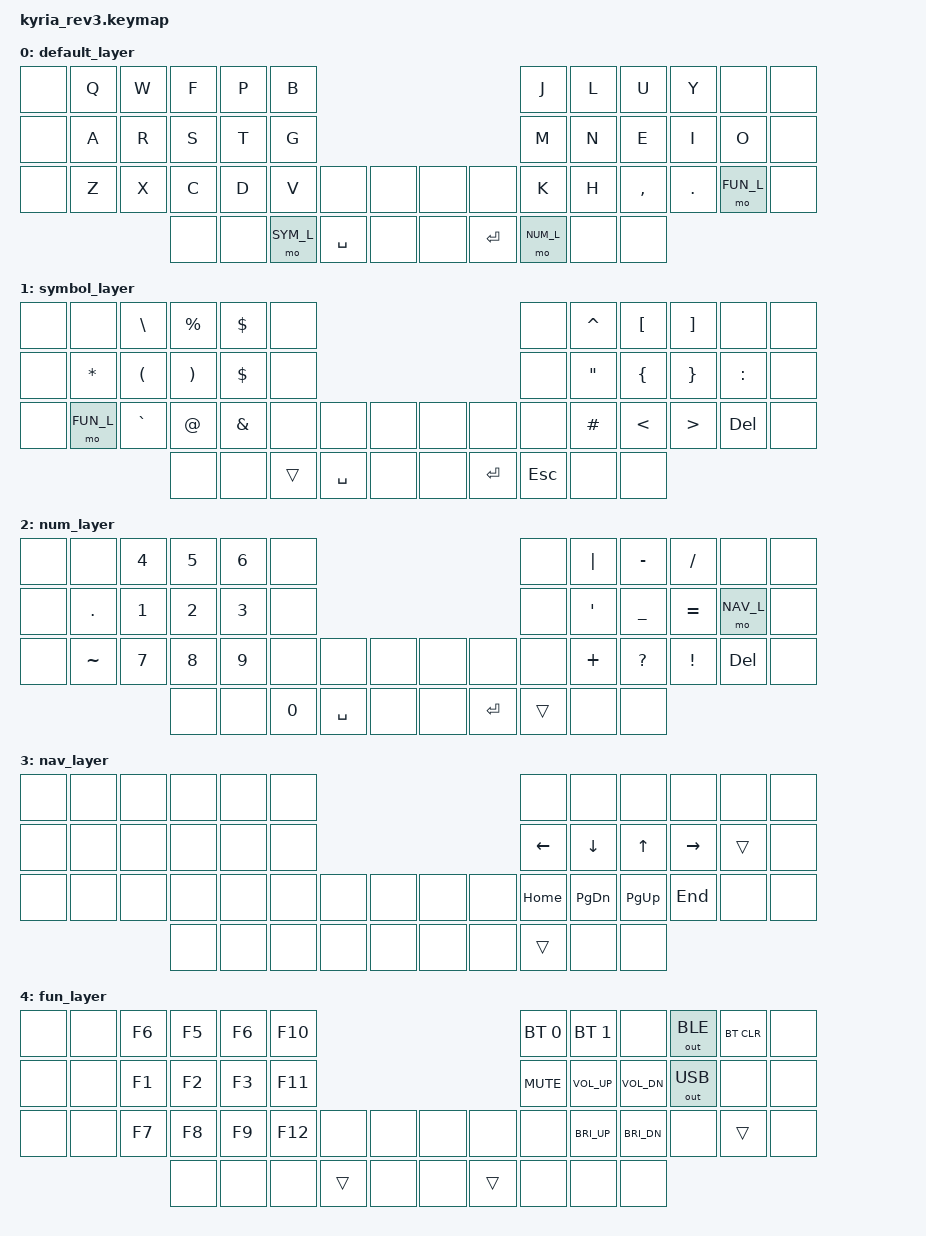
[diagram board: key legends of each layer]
/*
 * Copyright (c) 2023 Johan Söderbäck
 *
 */

#include <behaviors.dtsi>
#include <dt-bindings/zmk/bt.h>
#include <dt-bindings/zmk/keys.h>
#include <dt-bindings/zmk/outputs.h>
#include <dt-bindings/zmk/ext_power.h>
//#include <dt-bindings/zmk/rgb.h>

#define CMK_L 0
#define SYM_L 1
#define NUM_L 2
#define NAV_L 3
#define FUN_L 4


/* Uncomment this block if using RGB
&led_strip {
    chain-length = <6>;
    // chain-length = <31>; // Uncomment if using both per-key and underglow LEDs§
    // chain-length = <25>; // Uncomment if using only per-key LEDs.
};
 */



&caps_word {
   continue-list = <UNDERSCORE MINUS BACKSPACE>;
};


/*
	     34 Keys (kyria 50 keys)
    ╭──────────────╮           ╭──────────────╮
  0 │ 1  2  3  4  5│           │ 6  7  8 9  10│ 11
 12 │13 14 15 16 17│           │18 19 20 21 22│ 23
 24 │25 26 27 28 29│30 31 32 33│34 35 36 37 38│ 39
    ╰──────────╮   ╰─╮       ╭─╯   ╭──────────╯
          40 41│42 43│ 44 45 │46 47│48 49
	       ╰─────╯       ╰─────╯
*/

/ {

    behaviors {
        skq: sticky_key_quick_release {
            compatible = "zmk,behavior-sticky-key";
            label = "STICKY_KEY_QUICK_RELEASE";
            #binding-cells = <1>;
            bindings = <&kp>;
            release-after-ms = <1000>;
            quick-release;
        };
    };


    combos {
        compatible = "zmk,combos";
        combo_wf_shift {
            layers = <0 1 2 3 4 5>;
            timeout-ms = <50>;
            // W + F
            key-positions = <2 3>;
            bindings = <&skq LSHFT>;
        };
        combo_gm_capsword {
            layers = <0 1 2 3 4 5>;
            timeout-ms = <100>;
            // G + M
            key-positions = <17 18>;
            bindings = <&caps_word>;
        };
        combo_xc_ctrl {
            layers = <0 1 2 3 4 5>;
            timeout-ms = <50>;
            // Z + X
            key-positions = <25 26>;
            bindings = <&sk LCTL>;
        };
/*        combo_unlock {
            timeout-ms = <50>;
            // (Z + SYM) + NAV (NUM + SFT)
            key-positions = <25 34 37 40>;
            bindings = <&tog LCK>;
        };
*/
        combo_commadot_tab {
            layers = <0 1 2 3 4 5>;
            timeout-ms = <50>;
            // , + . = shift
            key-positions = <36 37>;
            bindings = <&kp TAB>;
        };
        combo_opt {
            layers = <0 1 2 3 4 5>;
            timeout-ms = <50>;
            // SYM + SPC = CMD
            key-positions = <43 465>;
            bindings = <&sk LCMD>;
        };
        combo_cmd {
            layers = <0 1 2 3 4 5>;
            timeout-ms = <50>;
            // NUM + ENT = OPT
            key-positions = <46 47>;
            bindings = <&sk LALT>;
        };
        combo_bspc {
            layers = <0 1 2 3 4 5>;
            timeout-ms = <80>;
            // SPC + ENT = BSPC
            key-positions = <43 46>;
            bindings = <&kp BSPC>;
        };
        combo_wp_q {
            layers = <0 1 2 3 4 5>;
            timeout-ms = <50>;
            // W + P = Q
            key-positions = <2 4>;
            bindings = <&kp Q>;
        };
    };
};


 
/ {
    keymap {
        compatible = "zmk,keymap";


	// CMK_L (colemak dh)
	default_layer {

            // ------------------------------------------------------       --------------------------------------------------------
            // |    Q    |    W    |    F     |    P     |    B     |       |    J     |    L     |     U    |     Y    |          |
	    // |    A    |    R    |    S     |    T     |    G     |       |    M     |    N     |     E    |     I    |     O    |
	    // |    Z    |    X    |    C     |    D     |    V     |       |    K     |    H     |     ,    |     .    |   -FUN-  |
	    // -------------------------------|  -SYM-   |   SPACE  |       |  RETURN  |  -NUM-   |---------------------------------
	    // 				      -----------------------       -----------------------

	    //											      <>
	    bindings = <	                                                                         
		 &none      &kp Q     &kp W      &kp F      &kp P      &kp B                                                        &kp J      &kp L      &kp U      &kp Y      &none      &none
	       	 &none      &kp A     &kp R      &kp S      &kp T      &kp G                                                        &kp M      &kp N      &kp E      &kp I      &kp O      &none  
                 &none      &kp Z     &kp X      &kp C      &kp D      &kp V      &none      &none             &none      &none     &kp K      &kp H      &kp COMMA  &kp PERIOD &mo FUN_L  &none
	 	                                 &none      &none      &mo SYM_L  &kp SPACE  &none             &none      &kp RET   &mo NUM_L  &none      &none
            >;
        };

	// SYM_L
	symbol_layer {	 

            // ------------------------------------------------------       --------------------------------------------------------
            // |         |    \    |    %     |    $     |          |       |          |     ^    |     [    |     ]    |          |
	    // |    *    |    (    |    )     |    ;     |          |       |          |     "    |     {    |     }    |     :    |
	    // |  -FUN-  |    `    |    @     |    &     |          |       |          |     #    |     <    |     >    |    DEL   |
	    // -------------------------------|  _SYM_   |   SPACE  |       |  RETURN  |    ESC   |---------------------------------
	    //                                -----------------------       -----------------------
            //
	    //                                                                                         <>
	    bindings = <
                 &none     &none     &kp BSLH   &kp PRCNT  &kp DLLR   &none                                                        &none      &kp CARET   &kp LBKT   &kp RBKT   &none       &none
 	       	 &none     &kp STAR  &kp LPAR   &kp RPAR   &kp DLLR   &none                                                        &none      &kp DQT     &kp LBRC   &kp RBRC   &kp COLON   &none  
		 &none     &mo FUN_L &kp GRAVE  &kp AT     &kp AMPS   &none      &none      &none	      &none	 &none	   &none      &kp HASH    &kp LT     &kp GT     &kp DEL     &none  
	 	                                &none      &none      &trans     &kp SPACE  &none             &none      &kp RET   &kp ESC    &none       &none
                 



	         
                 
	    >;
        };


	// NUM_L
	num_layer {

            // ------------------------------------------------------       --------------------------------------------------------
            // |         |    4    |    5     |    6     |          |       |          |     |    |     -    |     /    |          |
	    // |    .    |    1    |    2     |    3     |          |       |          |     '    |     _    |     =    |   -NAV-  |
	    // |    ~    |    7    |    8     |    9     |          |       |          |     +    |     ?    |     !    |    DEL   |
	    // -------------------------------|    0     |   SPACE  |       |  RETURN  |   _NUM_  |---------------------------------
	    //                                -----------------------       -----------------------

	    //                                                                                          <>
	    bindings = <	    
		 &none     &none     &kp N4      &kp N5     &kp N6     &none                                                         &none      &kp PIPE   &kp MINUS  &kp FSLH   &none        &none
	       	 &none     &kp DOT   &kp N1      &kp N2     &kp N3     &none                                                         &none      &kp SQT    &kp UNDER  &kp EQUAL  &mo NAV_L    &none  
                 &none     &kp TILDE &kp N7      &kp N8     &kp N9     &none       &none      &none             &none      &none     &none      &kp PLUS   &kp QMARK  &kp EXCL   &kp DEL      &none
	 	                                 &none      &none      &kp N0      &kp SPACE  &none             &none      &kp RET   &trans     &none      &none
            >;
        };


	// NAV_L
	nav_layer {

            // ------------------------------------------------------       --------------------------------------------------------
            // |         |         |          |          |          |       |          |          |          |          |          |
	    // |         |         |          |          |          |       |   LEFT   |   DOWN   |    UP    |   RIGHT  |   _NAV_  |
	    // |         |         |          |          |          |       |   HOME   |  PG DN   |   PG UP  |   END    |          |
	    // -------------------------------|          |   SPACE  |       |  RETURN  |   _NUM_  |---------------------------------
	    //                                -----------------------       -----------------------

	    //                                                                                          <>
	    bindings = <	    
		 &none     &none     &none       &none      &none      &none                                                         &none      &none      &none      &none      &none        &none
		 &none     &none     &none       &none      &none      &none                                                         &kp LEFT   &kp DOWN   &kp UP     &kp RIGHT  &trans       &none  
		 &none     &none     &none       &none      &none      &none       &none      &none             &none      &none     &kp HOME   &kp PG_DN  &kp PG_UP  &kp END    &none        &none 
	       	                                 &none      &none      &none       &none      &none             &none      &none     &trans     &none      &none
            >;
        };


	// FUN_L
	fun_layer {

            // ------------------------------------------------------       --------------------------------------------------------
            // |         |    F4   |    F5    |    F6     |   F10    |       |   BT0    |    BT1   |          | BT OUT   | BT CLR   |
	    // |         |    F1   |    F2    |    F3     |   F11    |       |  VMUTE   |  VOL UP  | VOL DN   | USB OUT  |          |
	    // |         |    F7   |    F8    |    F9     |   F12    |       |          |  BRI UP  | BRI DN   |  RESET   |  _FUN_   |
	    // -------------------------------|           |   SPACE  |       |  RETURN  |          |---------------------------------
	    //                                -----------------------       -----------------------

	    //                                                                                          <>
	    bindings = <
		 &none     &none     &kp F6     &kp F5     &kp F6      &kp F10                                                       &bt BT_SEL 0  &bt BT_SEL 1  &none          &out OUT_BLE  &bt BT_CLR  &none
                 &none     &none     &kp F1     &kp F2     &kp F3      &kp F11                                                       &kp K_MUTE    &kp C_VOL_UP  &kp C_VOL_DN   &out OUT_USB  &none       &none
	         &none     &none     &kp F7     &kp F8     &kp F9      &kp F12     &none       &none             &none      &none    &none         &kp C_BRI_UP  &kp C_BRI_DN   &none         &trans      &none  
                                                &none      &none       &none       &trans      &none             &none      &trans   &none         &none         &none
	    >;
        };
    };
};
